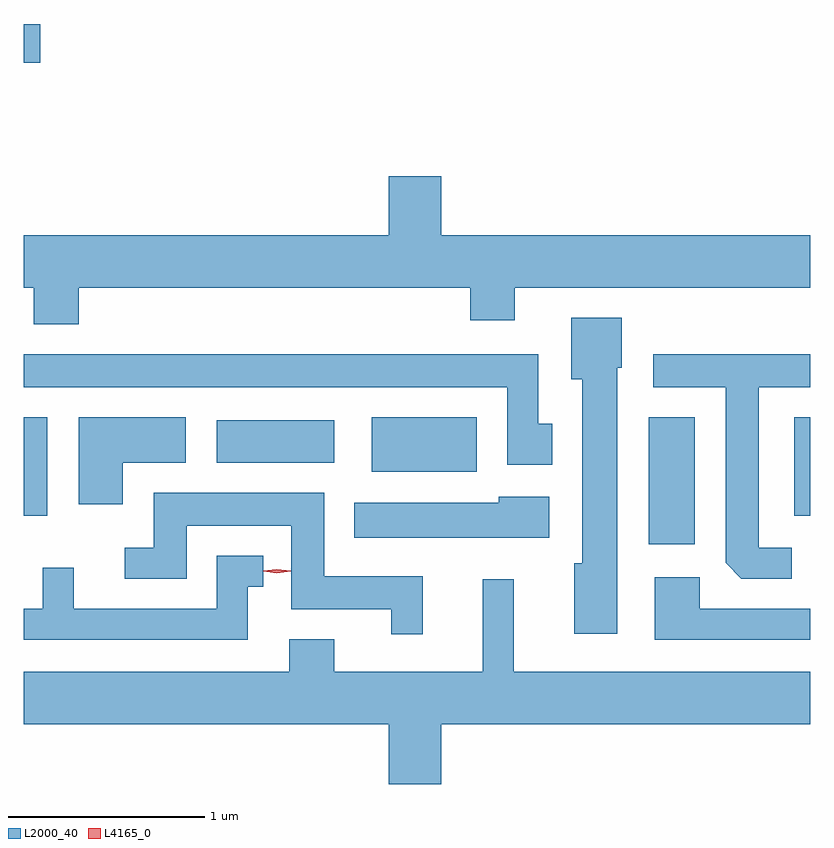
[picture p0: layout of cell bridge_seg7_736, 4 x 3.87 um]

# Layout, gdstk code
import gdstk
lib = gdstk.Library(unit=1e-6, precision=1e-09)
def R(c, l, rs):  # rectangles x0, y0, x1, y1
    for r in rs: c.add(gdstk.rectangle(r[:2], r[2:], *l))
def P(c, l, *ps):  # polygons
    for p in ps: c.add(gdstk.Polygon(p, *l))
L2000_40 = (2000, 40)
L4165_0 = (4165, 0)

bridge_seg7_736 = lib.new_cell('bridge_seg7_736')
R(bridge_seg7_736, L2000_40, [(416.201,1750.751,416.434,1751.399), (413.021,1750.896,413.139,1751.399), (416.941,1750.896,417.021,1751.399), (414.791,1751.121,415.324,1751.399), (414.001,1751.166,414.599,1751.384), (413.021,1753.201,413.104,1753.399)])
P(bridge_seg7_736, L2000_40, [(413.299,1752.056),(415.291,1752.056),(415.291,1751.891),(415.519,1751.891),(415.519,1752.056),(417.021,1752.056),(417.021,1752.324),(415.144,1752.324),(415.144,1752.624),(414.876,1752.624),(414.876,1752.324),(413.021,1752.324),(413.021,1752.056),(413.071,1752.056),(413.071,1751.871),(413.299,1751.871)],
  [(416.039,1751.651),(416.064,1751.651),(416.064,1751.904),(415.806,1751.904),(415.806,1751.591),(415.861,1751.591),(415.861,1750.654),(415.821,1750.654),(415.821,1750.296),(416.039,1750.296)],
  [(416.928,1750.734),(416.759,1750.734),(416.759,1751.551),(417.021,1751.551),(417.021,1751.719),(416.223,1751.719),(416.223,1751.551),(416.591,1751.551),(416.591,1750.657),(416.672,1750.576),(416.928,1750.576)],
  [(415.709,1751.364),(415.639,1751.364),(415.639,1751.719),(413.021,1751.719),(413.021,1751.551),(415.481,1751.551),(415.481,1751.156),(415.709,1751.156)],
  [(413.524,1751.166),(413.844,1751.166),(413.844,1751.399),(413.301,1751.399),(413.301,1750.956),(413.524,1750.956)],
  [(415.049,1750.589),(414.549,1750.589),(414.549,1751.014),(413.681,1751.014),(413.681,1750.734),(413.533,1750.734),(413.533,1750.576),(413.849,1750.576),(413.849,1750.846),(414.381,1750.846),(414.381,1750.421),(414.891,1750.421),(414.891,1750.293),(415.049,1750.293)],
  [(415.694,1750.994),(415.436,1750.994),(415.436,1750.964),(414.701,1750.964),(414.701,1750.786),(415.694,1750.786)],
  [(414.159,1750.536),(414.238,1750.536),(414.238,1750.694),(414.001,1750.694),(414.001,1750.424),(413.274,1750.424),(413.274,1750.633),(413.116,1750.633),(413.116,1750.424),(413.021,1750.424),(413.021,1750.266),(414.159,1750.266)],
  [(417.021,1750.424),(416.459,1750.424),(416.459,1750.584),(416.231,1750.584),(416.231,1750.266),(417.021,1750.266)],
  [(415.144,1749.836),(417.021,1749.836),(417.021,1750.104),(415.514,1750.104),(415.514,1750.573),(415.356,1750.573),(415.356,1750.104),(414.599,1750.104),(414.599,1750.269),(414.371,1750.269),(414.371,1750.104),(413.021,1750.104),(413.021,1749.836),(414.876,1749.836),(414.876,1749.532),(415.144,1749.532)])
P(bridge_seg7_736, L4165_0, [(414.308,1750.605),(414.239,1750.614),(414.239,1750.615),(414.239,1750.616),(414.308,1750.625),(414.378,1750.616),(414.378,1750.616),(414.378,1750.615)])

lib.write_gds('bridge_seg7_736.gds')
